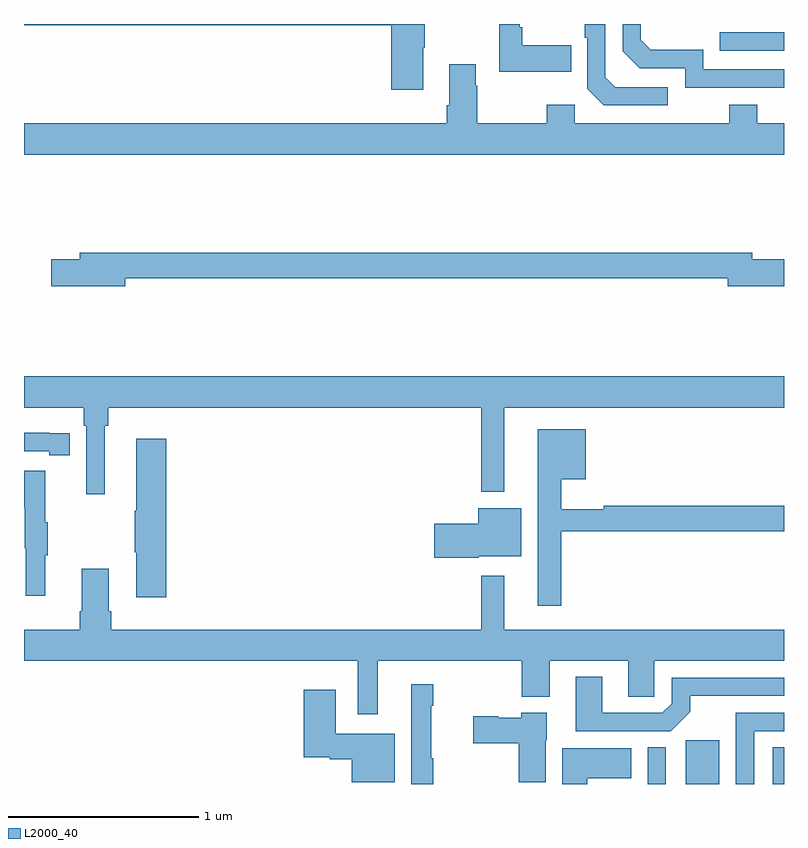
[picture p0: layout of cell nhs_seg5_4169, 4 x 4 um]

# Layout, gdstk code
import gdstk
lib = gdstk.Library(unit=1e-6, precision=1e-09)
def R(c, l, rs):  # rectangles x0, y0, x1, y1
    for r in rs: c.add(gdstk.rectangle(r[:2], r[2:], *l))
def P(c, l, *ps):  # polygons
    for p in ps: c.add(gdstk.Polygon(p, *l))
L2000_40 = (2000, 40)

nhs_seg5_4169 = lib.new_cell('nhs_seg5_4169')
R(nhs_seg5_4169, L2000_40, [(360.282,834.799,360.378,834.992), (360.482,834.799,360.658,835.028), (360.941,834.799,361,834.992), (360.661,838.659,361,838.755)])
P(nhs_seg5_4169, L2000_40, [(359.101,838.675),(359.109,838.675),(359.109,838.799),(357,838.799),(357,838.792),(358.934,838.792),(358.934,838.452),(359.101,838.452)],
  [(359.879,838.687),(359.623,838.687),(359.623,838.783),(359.61,838.783),(359.61,838.799),(359.502,838.799),(359.502,838.547),(359.879,838.547)],
  [(361,838.56),(360.576,838.56),(360.576,838.663),(360.299,838.663),(360.246,838.716),(360.246,838.799),(360.15,838.799),(360.15,838.656),(360.24,838.566),(360.48,838.566),(360.48,838.464),(361,838.464)],
  [(360.388,838.467),(360.111,838.467),(360.06,838.518),(360.06,838.799),(359.952,838.799),(359.952,838.727),(359.964,838.727),(359.964,838.458),(360.051,838.371),(360.388,838.371)],
  [(361,838.276),(360.859,838.276),(360.859,838.375),(360.712,838.375),(360.712,838.276),(359.898,838.276),(359.898,838.375),(359.752,838.375),(359.752,838.276),(359.385,838.276),(359.385,838.475),(359.377,838.475),(359.377,838.588),(359.237,838.588),(359.237,838.372),(359.225,838.372),(359.225,838.276),(357,838.276),(357,838.112),(361,838.112)],
  [(357.532,837.46),(360.704,837.46),(360.704,837.418),(361,837.418),(361,837.56),(360.832,837.56),(360.832,837.596),(357.293,837.596),(357.293,837.56),(357.144,837.56),(357.144,837.418),(357.532,837.418)],
  [(357,836.78),(357.314,836.78),(357.314,836.684),(357.327,836.684),(357.327,836.325),(357.424,836.325),(357.424,836.684),(357.443,836.684),(357.443,836.78),(359.406,836.78),(359.406,836.336),(359.527,836.336),(359.527,836.78),(361,836.78),(361,836.944),(357,836.944)],
  [(359.827,836.128),(361,836.128),(361,836.264),(360.052,836.264),(360.052,836.245),(359.827,836.245),(359.827,836.402),(359.956,836.402),(359.956,836.665),(359.705,836.665),(359.705,835.737),(359.827,835.737)],
  [(357.242,836.646),(357.134,836.646),(357.134,836.647),(357,836.647),(357,836.55),(357.134,836.55),(357.134,836.53),(357.242,836.53)],
  [(357.749,836.617),(357.59,836.617),(357.59,836.237),(357.583,836.237),(357.583,836.02),(357.59,836.02),(357.59,835.782),(357.749,835.782)],
  [(357.113,836.003),(357.124,836.003),(357.124,836.177),(357.113,836.177),(357.113,836.449),(357,836.449),(357,836.254),(357.003,836.254),(357.003,836.04),(357.01,836.04),(357.01,835.791),(357.113,835.791)],
  [(359.394,835.997),(359.617,835.997),(359.617,836.251),(359.39,836.251),(359.39,836.168),(359.16,836.168),(359.16,835.99),(359.394,835.99)],
  [(358.861,835.448),(359.62,835.448),(359.62,835.259),(359.767,835.259),(359.767,835.448),(360.179,835.448),(360.179,835.258),(360.318,835.258),(360.318,835.448),(361,835.448),(361,835.612),(359.527,835.612),(359.527,835.894),(359.406,835.894),(359.406,835.612),(357.458,835.612),(357.458,835.708),(357.445,835.708),(357.445,835.933),(357.305,835.933),(357.305,835.708),(357.293,835.708),(357.293,835.612),(357,835.612),(357,835.448),(358.757,835.448),(358.757,835.167),(358.861,835.167)],
  [(360.507,835.179),(360.507,835.263),(361,835.263),(361,835.359),(360.408,835.359),(360.408,835.221),(360.36,835.173),(360.043,835.173),(360.043,835.363),(359.903,835.363),(359.903,835.077),(360.405,835.077)],
  [(359.153,834.935),(359.143,834.935),(359.143,835.211),(359.153,835.211),(359.153,835.324),(359.039,835.324),(359.039,834.799),(359.153,834.799)],
  [(358.951,835.063),(358.642,835.063),(358.642,835.294),(358.472,835.294),(358.472,834.941),(358.608,834.941),(358.608,834.929),(358.724,834.929),(358.724,834.809),(358.951,834.809)],
  [(359.746,835.029),(359.752,835.029),(359.752,835.174),(359.616,835.174),(359.616,835.147),(359.496,835.147),(359.496,835.155),(359.364,835.155),(359.364,835.013),(359.605,835.013),(359.605,834.807),(359.746,834.807)],
  [(360.843,835.077),(361,835.077),(361,835.173),(360.747,835.173),(360.747,834.799),(360.843,834.799)],
  [(359.964,834.83),(360.197,834.83),(360.197,834.988),(359.834,834.988),(359.834,834.799),(359.964,834.799)])

lib.write_gds('nhs_seg5_4169.gds')
